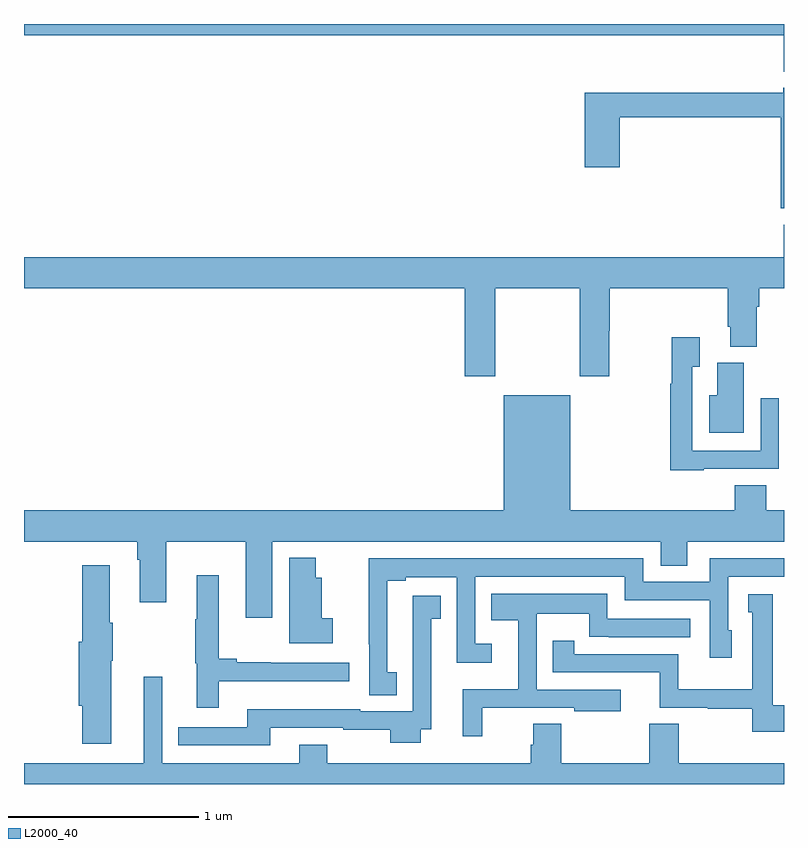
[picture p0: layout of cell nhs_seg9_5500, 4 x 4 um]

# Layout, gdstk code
import gdstk
lib = gdstk.Library(unit=1e-6, precision=1e-09)
def P(c, l, *ps):  # polygons
    for p in ps: c.add(gdstk.Polygon(p, *l))
L2000_40 = (2000, 40)

nhs_seg9_5500 = lib.new_cell('nhs_seg9_5500')
P(nhs_seg9_5500, L2000_40, [(435,1176.5),(431,1176.5),(431,1176.44),(434.999,1176.44),(434.999,1176.25),(435,1176.25)],
  [(435,1176.165),(434.996,1176.165),(434.996,1176.139),(433.952,1176.139),(433.952,1175.745),(434.135,1175.745),(434.135,1176.01),(434.984,1176.01),(434.984,1175.529),(435,1175.529)],
  [(433.479,1175.108),(433.924,1175.108),(433.924,1174.647),(434.079,1174.647),(434.079,1174.886),(434.084,1174.886),(434.084,1175.108),(434.705,1175.108),(434.705,1174.906),(434.717,1174.906),(434.717,1174.801),(434.857,1174.801),(434.857,1175.012),(434.87,1175.012),(434.87,1175.108),(435,1175.108),(435,1175.444),(434.999,1175.444),(434.999,1175.272),(431,1175.272),(431,1175.108),(433.319,1175.108),(433.319,1174.647),(433.479,1174.647)],
  [(434.577,1174.158),(434.973,1174.158),(434.973,1174.531),(434.877,1174.531),(434.877,1174.254),(434.517,1174.254),(434.517,1174.696),(434.557,1174.696),(434.557,1174.852),(434.409,1174.852),(434.409,1174.607),(434.401,1174.607),(434.401,1174.151),(434.577,1174.151)],
  [(434.788,1174.716),(434.648,1174.716),(434.648,1174.546),(434.606,1174.546),(434.606,1174.349),(434.788,1174.349)],
  [(432.307,1173.776),(434.351,1173.776),(434.351,1173.649),(434.491,1173.649),(434.491,1173.776),(435,1173.776),(435,1173.94),(434.906,1173.94),(434.906,1174.073),(434.741,1174.073),(434.741,1173.94),(433.876,1173.94),(433.876,1174.546),(433.526,1174.546),(433.526,1173.94),(431,1173.94),(431,1173.776),(431.597,1173.776),(431.597,1173.68),(431.609,1173.68),(431.609,1173.456),(431.749,1173.456),(431.749,1173.776),(432.167,1173.776),(432.167,1173.375),(432.307,1173.375)],
  [(432.625,1173.372),(432.568,1173.372),(432.568,1173.586),(432.535,1173.586),(432.535,1173.691),(432.395,1173.691),(432.395,1173.242),(432.625,1173.242)],
  [(432.962,1173.087),(432.913,1173.087),(432.913,1173.57),(433.009,1173.57),(433.009,1173.587),(433.278,1173.587),(433.278,1173.137),(433.462,1173.137),(433.462,1173.238),(433.374,1173.238),(433.374,1173.591),(434.163,1173.591),(434.163,1173.468),(434.61,1173.468),(434.61,1173.165),(434.725,1173.165),(434.725,1173.309),(434.706,1173.309),(434.706,1173.591),(435,1173.591),(435,1173.687),(434.61,1173.687),(434.61,1173.564),(434.259,1173.564),(434.259,1173.687),(433.271,1173.687),(433.271,1173.688),(432.814,1173.688),(432.814,1173.235),(432.816,1173.235),(432.816,1172.968),(432.962,1172.968)],
  [(431.458,1173.149),(431.466,1173.149),(431.466,1173.349),(431.452,1173.349),(431.452,1173.652),(431.306,1173.652),(431.306,1173.249),(431.288,1173.249),(431.288,1172.913),(431.306,1172.913),(431.306,1172.712),(431.458,1172.712)],
  [(432.025,1173.041),(432.712,1173.041),(432.712,1173.138),(432.299,1173.138),(432.299,1173.141),(432.121,1173.141),(432.121,1173.158),(432.025,1173.158),(432.025,1173.598),(431.909,1173.598),(431.909,1173.368),(431.902,1173.368),(431.902,1173.135),(431.909,1173.135),(431.909,1172.901),(432.025,1172.901)],
  [(433.412,1172.901),(433.895,1172.901),(433.895,1172.882),(434.14,1172.882),(434.14,1172.997),(433.698,1172.997),(433.698,1173.395),(433.974,1173.395),(433.974,1173.274),(434.077,1173.274),(434.077,1173.273),(434.506,1173.273),(434.506,1173.369),(434.07,1173.369),(434.07,1173.502),(433.459,1173.502),(433.459,1173.362),(433.601,1173.362),(433.601,1172.998),(433.31,1172.998),(433.31,1172.751),(433.412,1172.751)],
  [(435,1172.914),(434.94,1172.914),(434.94,1173.01),(434.941,1173.01),(434.941,1173.498),(434.813,1173.498),(434.813,1173.405),(434.834,1173.405),(434.834,1172.998),(434.443,1172.998),(434.443,1173.183),(433.896,1173.183),(433.896,1173.253),(433.783,1173.253),(433.783,1173.087),(434.345,1173.087),(434.345,1172.901),(434.598,1172.901),(434.598,1172.896),(434.832,1172.896),(434.832,1172.774),(435,1172.774)],
  [(432.295,1172.796),(432.681,1172.796),(432.681,1172.786),(432.928,1172.786),(432.928,1172.717),(433.087,1172.717),(433.087,1172.787),(433.144,1172.787),(433.144,1173.369),(433.193,1173.369),(433.193,1173.49),(433.046,1173.49),(433.046,1173.166),(433.047,1173.166),(433.047,1172.883),(432.771,1172.883),(432.771,1172.893),(432.176,1172.893),(432.176,1172.799),(431.812,1172.799),(431.812,1172.703),(432.295,1172.703)],
  [(435,1172.608),(434.445,1172.608),(434.445,1172.816),(434.29,1172.816),(434.29,1172.608),(433.827,1172.608),(433.827,1172.816),(433.679,1172.816),(433.679,1172.706),(433.667,1172.706),(433.667,1172.608),(432.597,1172.608),(432.597,1172.707),(432.449,1172.707),(432.449,1172.608),(431.727,1172.608),(431.727,1173.064),(431.63,1173.064),(431.63,1172.608),(431,1172.608),(431,1172.5),(435,1172.5)])

lib.write_gds('nhs_seg9_5500.gds')
